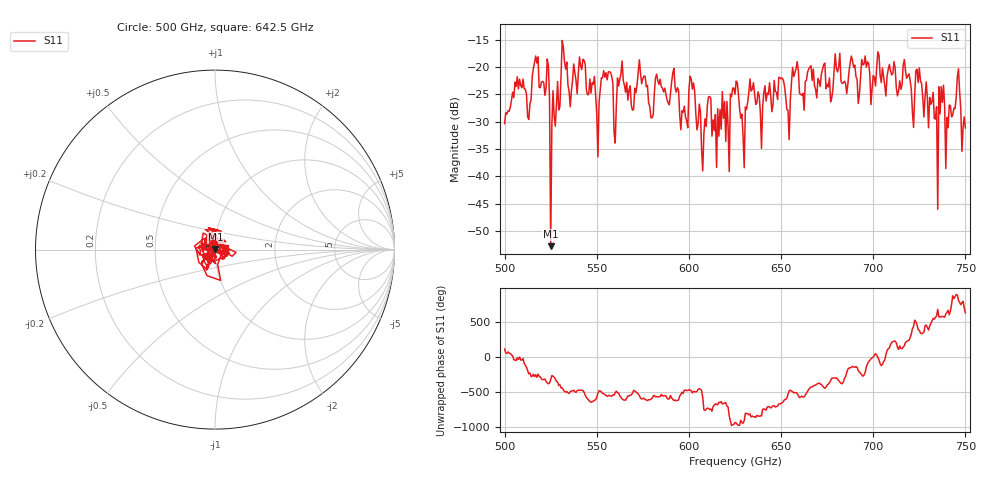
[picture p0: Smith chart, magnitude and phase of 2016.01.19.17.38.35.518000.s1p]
!Created with skrf (http://scikit-rf.org).
# GHz S RI R 50.0
!freq ReS11 ImS11
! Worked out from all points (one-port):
!   401 points, 500 GHz to 750 GHz, reference 50 ohm
!   lowest |S11| = -52.8 dB at 525 GHz (marker M1), VSWR 1.00, Z = 50.2 + j0.142 ohm
!   |S11| at or under -10 dB: start of sweep to end of sweep
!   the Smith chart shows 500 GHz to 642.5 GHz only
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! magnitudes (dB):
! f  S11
! 500 GHz  -30.4
! 506.9 GHz  -21.8
! 513.1 GHz  -29.6
! 516.9 GHz  -18.0
! 523.1 GHz  -18.5
! 525 GHz  -52.8
! 531.2 GHz  -15.2
! 542.5 GHz  -18.6
! 550.6 GHz  -36.4
! 560.6 GHz  -27.1
! 562.5 GHz  -22.3
! 593.8 GHz  -23.8
! 598.1 GHz  -29.1
! 601.9 GHz  -24.0
! 608.1 GHz  -32.1
! 610.6 GHz  -25.5
! 621.2 GHz  -30.9
! 625 GHz  -25.0
! 628.8 GHz  -28.6
! 633.8 GHz  -24.4
! 650 GHz  -22.2
! 653.8 GHz  -27.9
! 656.2 GHz  -20.1
! 687.5 GHz  -19.3
! 718.8 GHz  -21.6
! 733.8 GHz  -29.5
! 746.2 GHz  -20.3
! 750 GHz  -31.1
